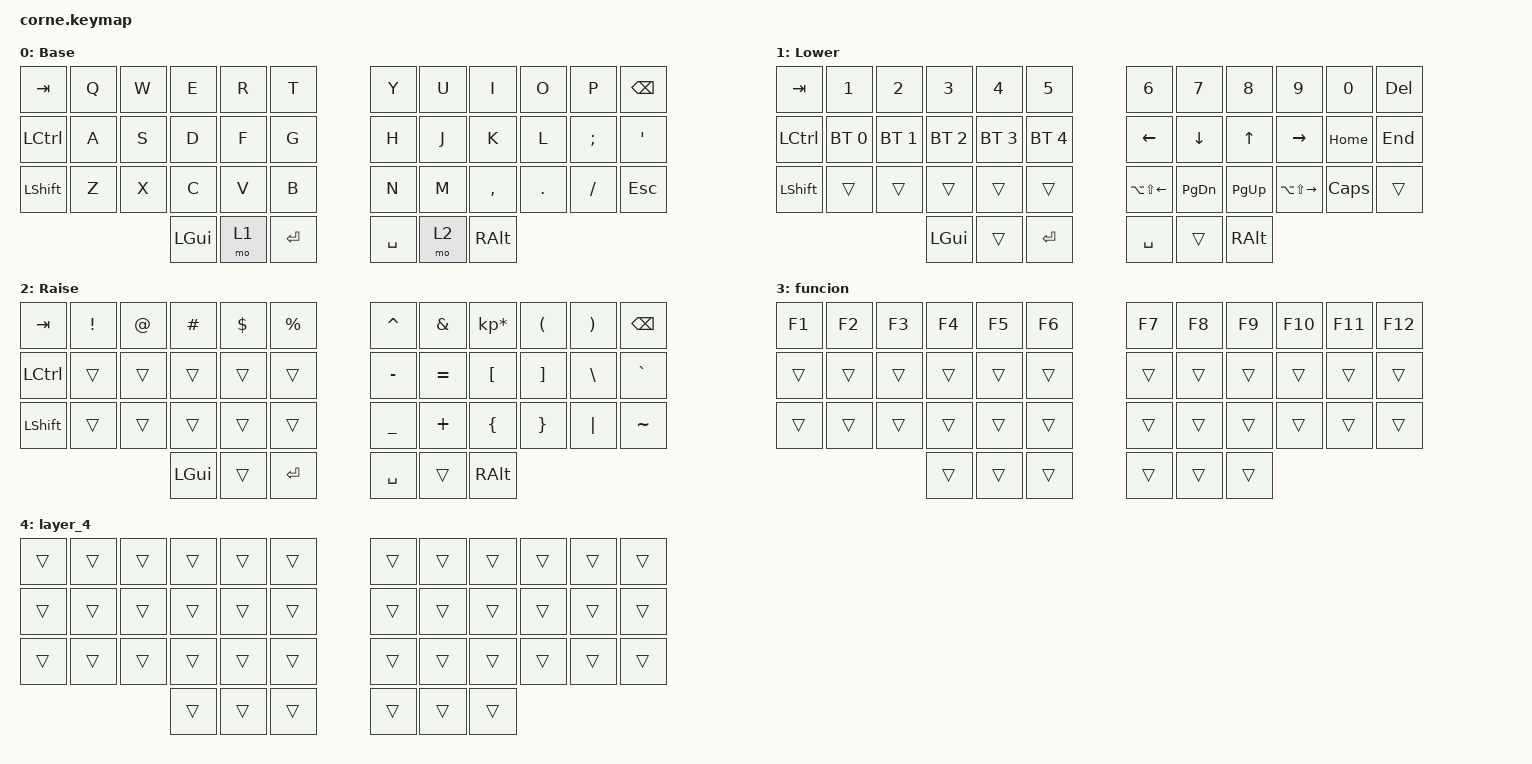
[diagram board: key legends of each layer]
/*
 * Copyright (c) 2020 The ZMK Contributors
 *
 * SPDX-License-Identifier: MIT
 */

#include <behaviors.dtsi>
#include <dt-bindings/zmk/bt.h>
#include <dt-bindings/zmk/keys.h>

/ {
    keymap {
        compatible = "zmk,keymap";

        default_layer {
            // -----------------------------------------------------------------------------------------
            // |  TAB |  Q  |  W  |  E  |  R  |  T  |   |  Y  |  U   |  I  |  O  |  P  | BKSP |
            // | CTRL |  A  |  S  |  D  |  F  |  G  |   |  H  |  J   |  K  |  L  |  ;  |  '   |
            // | SHFT |  Z  |  X  |  C  |  V  |  B  |   |  N  |  M   |  ,  |  .  |  /  | ESC  |
            //                    | GUI | LWR | ENT |   | SPC | RSE  | ALT |

            display-name = "Base";
            bindings = <
&kp TAB    &kp Q  &kp W  &kp E     &kp R  &kp T        &kp Y      &kp U  &kp I      &kp O    &kp P     &kp BSPC
&kp LCTRL  &kp A  &kp S  &kp D     &kp F  &kp G        &kp H      &kp J  &kp K      &kp L    &kp SEMI  &kp SQT
&kp LSHFT  &kp Z  &kp X  &kp C     &kp V  &kp B        &kp N      &kp M  &kp COMMA  &kp DOT  &kp FSLH  &kp ESC
                         &kp LGUI  &mo 1  &kp ENTER    &kp SPACE  &mo 2  &kp RALT
            >;
        };

        lower_layer {
            // -----------------------------------------------------------------------------------------
            // |  TAB |  1  |  2  |  3  |  4  |  5  |   |  6   |  7   |  8   |  9   |  0   | DEL  |
            // | CTRL | BT1 | BT2 | BT3 | BT4 | BT5 |   | LFT  | DWN  |  UP  | RGT  | HOME | END  |
            // | SHFT |     |     |     |     |     |   | OS+← | PGDN | PGUP | OS+→ | CAPS |      |
            //                    | GUI |     | ENT |   | SPC |     | ALT |
            // OS+← / OS+→ are Option+Shift+Left / Option+Shift+Right, under the arrow keys.

            display-name = "Lower";
            bindings = <
&kp TAB    &kp N1        &kp N2        &kp N3        &kp N4        &kp N5          &kp N6            &kp N7     &kp N8     &kp N9             &kp N0     &kp DEL
&kp LCTRL  &bt BT_SEL 0  &bt BT_SEL 1  &bt BT_SEL 2  &bt BT_SEL 3  &bt BT_SEL 4    &kp LEFT          &kp DOWN   &kp UP     &kp RIGHT          &kp HOME   &kp END
&kp LSHFT  &trans        &trans        &trans        &trans        &trans          &kp LA(LS(LEFT))  &kp PG_DN  &kp PG_UP  &kp LA(LS(RIGHT))  &kp CAPS   &trans
                                       &kp LGUI      &trans        &kp ENTER       &kp SPACE          &trans     &kp RALT
            >;
        };

        raise_layer {
            // -----------------------------------------------------------------------------------------
            // |  TAB |  !  |  @  |  #  |  $  |  %  |   |  ^  |  &  |  *  |  (  |  )  | BKSP |
            // | CTRL |     |     |     |     |     |   |  -  |  =  |  [  |  ]  |  \  |  `   |
            // | SHFT |     |     |     |     |     |   |  _  |  +  |  {  |  }  | "|" |  ~   |
            //                    | GUI |     | ENT |   | SPC |     | ALT |

            display-name = "Raise";
            bindings = <
&kp TAB    &kp EXCL  &kp AT  &kp HASH  &kp DLLR  &kp PRCNT    &kp CARET  &kp AMPS   &kp KP_MULTIPLY  &kp LPAR  &kp RPAR  &kp BSPC
&kp LCTRL  &trans    &trans  &trans    &trans    &trans       &kp MINUS  &kp EQUAL  &kp LBKT         &kp RBKT  &kp BSLH  &kp GRAVE
&kp LSHFT  &trans    &trans  &trans    &trans    &trans       &kp UNDER  &kp PLUS   &kp LBRC         &kp RBRC  &kp PIPE  &kp TILDE
                             &kp LGUI  &trans    &kp ENTER    &kp SPACE  &trans     &kp RALT
            >;
        };

        funcion {
            bindings = <
&kp F1  &kp F2  &kp F3  &kp F4  &kp F5  &kp F6    &kp F7  &kp F8  &kp F9  &kp F10  &kp F11  &kp F12
&trans  &trans  &trans  &trans  &trans  &trans    &trans  &trans  &trans  &trans   &trans   &trans
&trans  &trans  &trans  &trans  &trans  &trans    &trans  &trans  &trans  &trans   &trans   &trans
                        &trans  &trans  &trans    &trans  &trans  &trans
            >;
        };

        layer_4 {
            bindings = <
&trans  &trans  &trans  &trans  &trans  &trans    &trans  &trans  &trans  &trans  &trans  &trans
&trans  &trans  &trans  &trans  &trans  &trans    &trans  &trans  &trans  &trans  &trans  &trans
&trans  &trans  &trans  &trans  &trans  &trans    &trans  &trans  &trans  &trans  &trans  &trans
                        &trans  &trans  &trans    &trans  &trans  &trans
            >;
        };
    };

    conditional_layers {
        compatible = "zmk,conditional-layers";

        Function_layer {
            if-layers = <1 2>;
            then-layer = <3>;
        };
    };
};
